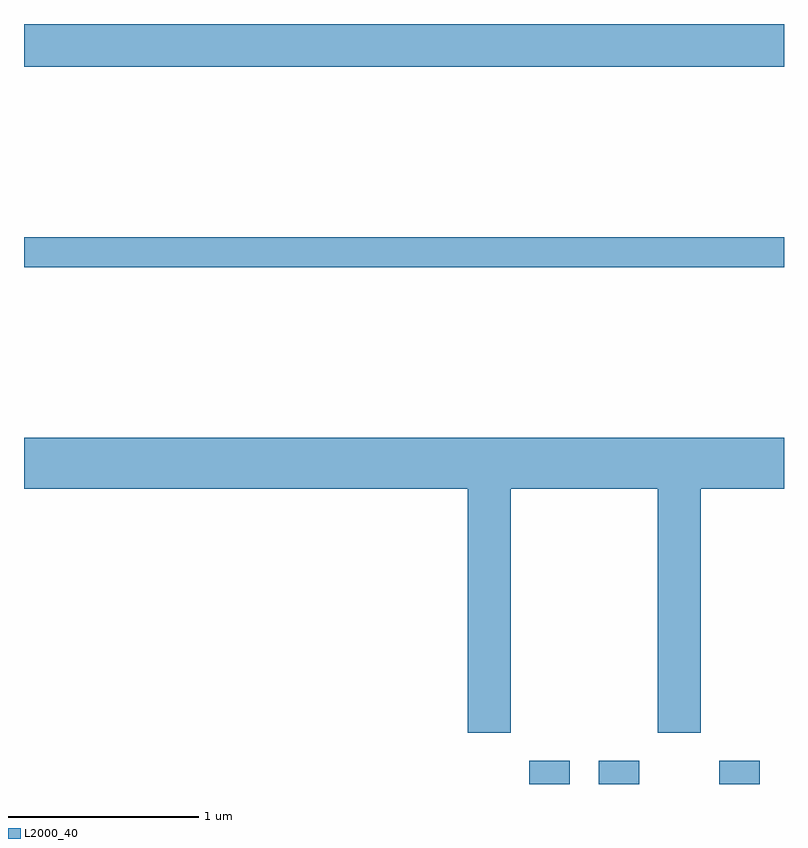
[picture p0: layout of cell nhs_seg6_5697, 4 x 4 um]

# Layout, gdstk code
import gdstk
lib = gdstk.Library(unit=1e-6, precision=1e-09)
def R(c, l, rs):  # rectangles x0, y0, x1, y1
    for r in rs: c.add(gdstk.rectangle(r[:2], r[2:], *l))
def P(c, l, *ps):  # polygons
    for p in ps: c.add(gdstk.Polygon(p, *l))
L2000_40 = (2000, 40)

nhs_seg6_5697 = lib.new_cell('nhs_seg6_5697')
R(nhs_seg6_5697, L2000_40, [(360.271,1646.162,360.484,1646.284), (360.636,1646.162,360.849,1646.284), (361.271,1646.162,361.484,1646.284), (357.611,1648.881,361.611,1649.039), (357.611,1649.936,361.611,1650.162)])
P(nhs_seg6_5697, L2000_40, [(360.174,1647.716),(360.946,1647.716),(360.946,1646.431),(361.174,1646.431),(361.174,1647.716),(361.611,1647.716),(361.611,1647.984),(357.611,1647.984),(357.611,1647.716),(359.946,1647.716),(359.946,1646.431),(360.174,1646.431)])

lib.write_gds('nhs_seg6_5697.gds')
